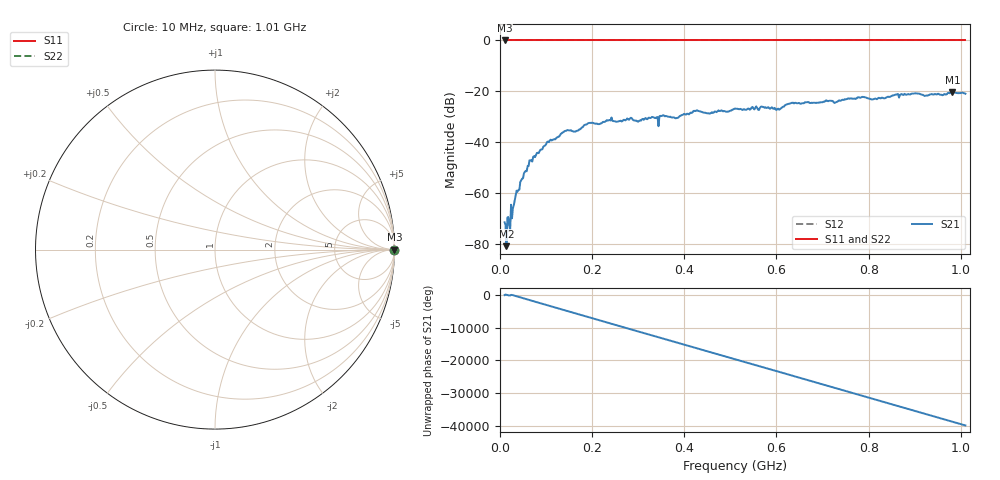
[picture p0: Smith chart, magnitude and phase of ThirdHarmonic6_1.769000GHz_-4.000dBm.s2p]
! 8/16/2025 9:21:50 PM
! C:\ANRITSUVNA\TEMP\TEMP.S2P
! CHANNEL.1
! TR.MEASUREMENT
! RAW.DATA
! RF.CORRECTION.OFF
! AVERAGING.OFF
! IF.BANDWIDTH: 5KHZ
! SWEEPTYPE:  FREQ.SWEEP(Linear)
! Reference Plane Port Info
! PORT:  PORT1  PORT2
! DISTANCE:  0  m  0  m
! TIME:  0  s  0  s
! PHASE.OFFSET:  0  deg.  0  deg.
! LOSS:  0  dB  0  dB
! REF.LOSS:  0  dB  0  dB
! REF.FREQ:  0  Hz  0  Hz
! Power Info
! POWER:  -20  dBm  -20  dBm
! EFF.POWER:  -20  dBm  -20  dBm
! SOURCE.ATTEN:  0  dB  0  dB
! TEST.ATTEN:  0  dB  0  dB
# GHZ S RI R 50.0
! FREQ.GHZ  S11RE  S11IM  S21RE  S21IM  S12RE  S12IM  S22RE  S22IM
!; PortSelection: Port_12
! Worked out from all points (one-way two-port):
!   501 points, 10 MHz to 1.01 GHz, reference 50 ohm
!   highest |S21| = -20.37 dB at 982 MHz (marker M1); lowest = -80.8 dB at 14 MHz (marker M2)
!   lowest |S11| = 0.0 dB at 10 MHz (marker M3)
!   |S11| at or under -10 dB: nowhere
!   |S22| runs from 0.0 to 0.0 dB; largest |S21 - S12| = 1.1
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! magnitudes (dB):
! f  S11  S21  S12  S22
! 10 MHz  0.0  -71.4  0.0  0.0
! 14 MHz  0.0  -80.8  0.0  0.0
! 18 MHz  0.0  -69.3  0.0  0.0
! 20 MHz  0.0  -72.5  0.0  0.0
! 24 MHz  0.0  -64.5  0.0  0.0
! 36 MHz  0.0  -59.0  0.0  0.0
! 68 MHz  0.0  -46.9  0.0  0.0
! 106 MHz  0.0  -39.9  0.0  0.0
! 142 MHz  0.0  -35.5  0.0  0.0
! 178 MHz  0.0  -34.1  0.0  0.0
! 238 MHz  0.0  -31.2  0.0  0.0
! 344 MHz  0.0  -33.7  0.0  0.0
! 384 MHz  0.0  -30.4  0.0  0.0
! 424 MHz  0.0  -27.7  0.0  0.0
! 454 MHz  0.0  -28.7  0.0  0.0
! 510 MHz  0.0  -26.7  0.0  0.0
! 604 MHz  0.0  -26.8  0.0  0.0
! 632 MHz  0.0  -24.6  0.0  0.0
! 678 MHz  0.0  -24.5  0.0  0.0
! 844 MHz  0.0  -22.2  0.0  0.0
! 982 MHz  0.0  -20.4  0.0  0.0
! 1.01 GHz  0.0  -20.9  0.0  0.0
